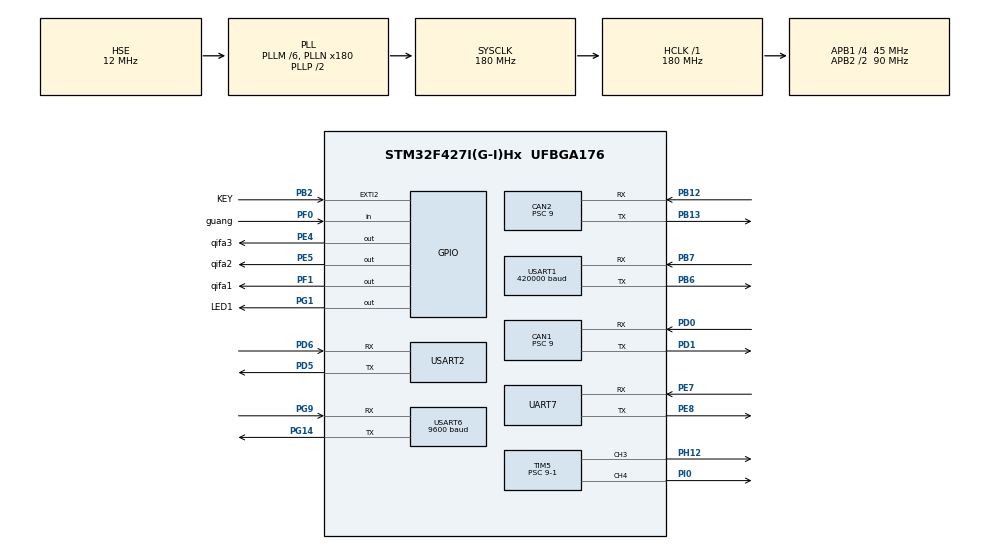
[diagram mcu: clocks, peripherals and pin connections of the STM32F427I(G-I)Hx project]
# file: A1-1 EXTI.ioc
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CAN1.ABOM=ENABLE
CAN1.BS1=CAN_BS1_2TQ
CAN1.BS2=CAN_BS2_2TQ
CAN1.CalculateBaudRate=1000000
CAN1.CalculateTimeBit=1000
CAN1.CalculateTimeQuantum=200.0
CAN1.Prescaler=9
CAN2.ABOM=ENABLE
CAN2.BS1=CAN_BS1_2TQ
CAN2.BS2=CAN_BS2_2TQ
CAN2.CalculateBaudRate=1000000
CAN2.CalculateTimeBit=1000
CAN2.CalculateTimeQuantum=200.0
CAN2.Prescaler=9
Dma.Request0=USART1_RX
Dma.USART1_RX.0.Direction=DMA_PERIPH_TO_MEMORY
Dma.USART1_RX.0.FIFOMode=DMA_FIFOMODE_DISABLE
Dma.USART1_RX.0.Instance=DMA2_Stream2
Dma.USART1_RX.0.MemDataAlignment=DMA_MDATAALIGN_BYTE
Dma.USART1_RX.0.MemInc=DMA_MINC_ENABLE
Dma.USART1_RX.0.Mode=DMA_NORMAL
Dma.USART1_RX.0.PeriphDataAlignment=DMA_PDATAALIGN_BYTE
Dma.USART1_RX.0.PeriphInc=DMA_PINC_DISABLE
Dma.USART1_RX.0.Priority=DMA_PRIORITY_LOW
FREERTOS.Tasks01=PID_Task,0,256,PID_Function,Default,NULL,Dynamic,NULL,NULL;Cloud_Task,-1,256,Cloud_Function,Default,NULL,Dynamic,NULL,NULL;LvBoQi_Task,0,128,LvBoQi_Function,Default,NULL,Dynamic,NULL,NULL
Mcu.Family=STM32F4
Mcu.Name=STM32F427I(G-I)Hx
Mcu.Package=UFBGA176
NVIC.CAN1_RX0_IRQn=true\:5\:0\:false\:false\:true\:true\:true\:true\:true
NVIC.DMA2_Stream2_IRQn=true\:5\:0\:false\:false\:true\:true\:false\:true\:true
NVIC.EXTI2_IRQn=true\:15\:0\:true\:false\:true\:true\:true\:true\:true
NVIC.PriorityGroup=NVIC_PRIORITYGROUP_4
NVIC.TIM1_UP_TIM10_IRQn=true\:15\:0\:false\:false\:true\:false\:false\:true\:true
NVIC.TIM6_DAC_IRQn=true\:5\:0\:false\:false\:true\:true\:true\:true\:true
NVIC.TIM8_BRK_TIM12_IRQn=true\:5\:0\:false\:false\:true\:true\:true\:true\:true
NVIC.TIM8_TRG_COM_TIM14_IRQn=true\:5\:0\:false\:false\:true\:true\:true\:true\:true
NVIC.TIM8_UP_TIM13_IRQn=true\:5\:0\:false\:false\:true\:true\:true\:true\:true
NVIC.TimeBase=TIM1_UP_TIM10_IRQn
NVIC.TimeBaseIP=TIM10
NVIC.UART7_IRQn=true\:5\:0\:false\:false\:true\:true\:true\:true\:true
NVIC.USART1_IRQn=true\:5\:0\:false\:false\:true\:true\:true\:true\:true
NVIC.USART2_IRQn=true\:5\:0\:false\:false\:true\:true\:true\:true\:true
NVIC.USART6_IRQn=true\:5\:0\:false\:false\:true\:true\:true\:true\:true
PA13.Mode=Serial_Wire
PA13.Signal=SYS_JTMS-SWDIO
PA14.Mode=Serial_Wire
PA14.Signal=SYS_JTCK-SWCLK
PB12.Mode=CAN_Activate
PB12.Signal=CAN2_RX
PB13.Mode=CAN_Activate
PB13.Signal=CAN2_TX
PB2/BOOT1.GPIO_Label=KEY
PB2/BOOT1.GPIO_ModeDefaultEXTI=GPIO_MODE_IT_RISING
PB2/BOOT1.GPIO_PuPd=GPIO_PULLDOWN
PB2/BOOT1.Signal=GPXTI2
PB6.Mode=Asynchronous
PB6.Signal=USART1_TX
PB7.Mode=Asynchronous
PB7.Signal=USART1_RX
PD0.Mode=CAN_Activate
PD0.Signal=CAN1_RX
PD1.Mode=CAN_Activate
PD1.Signal=CAN1_TX
PD5.Mode=Asynchronous
PD5.Signal=USART2_TX
PD6.Mode=Asynchronous
PD6.Signal=USART2_RX
PE4.GPIO_Label=qifa3
PE4.GPIO_PuPd=GPIO_PULLDOWN
PE4.Signal=GPIO_Output
PE5.GPIO_Label=qifa2
PE5.GPIO_PuPd=GPIO_PULLDOWN
PE5.Signal=GPIO_Output
PE7.Mode=Asynchronous
PE7.Signal=UART7_RX
PE8.Mode=Asynchronous
PE8.Signal=UART7_TX
PF0.GPIO_Label=guang
PF0.GPIO_PuPd=GPIO_PULLUP
PF0.Signal=GPIO_Input
PF1.GPIO_Label=qifa1
PF1.GPIO_PuPd=GPIO_PULLDOWN
PF1.Signal=GPIO_Output
PG1.GPIO_Label=LED1
PG1.GPIO_Speed=GPIO_SPEED_FREQ_LOW
PG1.PinState=GPIO_PIN_RESET
PG1.Signal=GPIO_Output
PG14.Mode=Asynchronous
PG14.Signal=USART6_TX
PG9.Mode=Asynchronous
PG9.Signal=USART6_RX
PH0/OSC_IN.Mode=HSE-External-Oscillator
PH0/OSC_IN.Signal=RCC_OSC_IN
PH1/OSC_OUT.Mode=HSE-External-Oscillator
PH1/OSC_OUT.Signal=RCC_OSC_OUT
PH12.Signal=S_TIM5_CH3
PI0.Signal=S_TIM5_CH4
ProjectManager.HeapSize=0x200
ProjectManager.StackSize=0x400
ProjectManager.TargetToolchain=MDK-ARM V5.32
RCC.48MHZClocksFreq_Value=90000000
RCC.AHBFreq_Value=180000000
RCC.APB1CLKDivider=RCC_HCLK_DIV4
RCC.APB1Freq_Value=45000000
RCC.APB1TimFreq_Value=90000000
RCC.APB2CLKDivider=RCC_HCLK_DIV2
RCC.APB2Freq_Value=90000000
RCC.APB2TimFreq_Value=180000000
RCC.CortexFreq_Value=180000000
RCC.HCLKFreq_Value=180000000
RCC.HSE_VALUE=12000000
RCC.HSI_VALUE=16000000
RCC.LSE_VALUE=32768
RCC.PLLM=6
RCC.PLLN=180
RCC.PLLSourceVirtual=RCC_PLLSOURCE_HSE
RCC.SYSCLKFreq_VALUE=180000000
RCC.SYSCLKSource=RCC_SYSCLKSOURCE_PLLCLK
RCC.VCOOutputFreq_Value=360000000
SH.S_TIM5_CH3.0=TIM5_CH3,PWM Generation3 CH3
SH.S_TIM5_CH4.0=TIM5_CH4,PWM Generation4 CH4
TIM12.Period=20000-1
TIM12.Prescaler=90-1
TIM13.Period=1000-1
TIM13.Prescaler=9000-1
TIM14.Period=10000-1
TIM14.Prescaler=90-1
TIM5.Channel-PWM\ Generation3\ CH3=TIM_CHANNEL_3
TIM5.Channel-PWM\ Generation4\ CH4=TIM_CHANNEL_4
TIM5.Period=200000-1
TIM5.Prescaler=9-1
TIM6.Period=1000-1
TIM6.Prescaler=80-1
UART7.VirtualMode=Asynchronous
USART1.BaudRate=420000
USART1.VirtualMode=VM_ASYNC
USART2.VirtualMode=VM_ASYNC
USART6.BaudRate=9600
USART6.VirtualMode=VM_ASYNC
VP_FREERTOS_VS_CMSIS_V1.Mode=CMSIS_V1
VP_SYS_VS_tim10.Mode=TIM10
VP_TIM12_VS_ClockSourceINT.Mode=Internal
VP_TIM13_VS_ClockSourceINT.Mode=Enable_Timer
VP_TIM14_VS_ClockSourceINT.Mode=Enable_Timer
VP_TIM5_VS_ClockSourceINT.Mode=Internal
VP_TIM6_VS_ClockSourceINT.Mode=Enable_Timer
board=custom

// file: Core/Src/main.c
/* USER CODE BEGIN Header */
/**
 ******************************************************************************
 * @file           : main.c
 * @brief          : Main program body
 ******************************************************************************
 * @attention
 *
 * Copyright (c) 2024 STMicroelectronics.
 * All rights reserved.
 *
 * This software is licensed under terms that can be found in the LICENSE file
 * in the root directory of this software component.
 * If no LICENSE file comes with this software, it is provided AS-IS.
 *
 ******************************************************************************
 */
/* USER CODE END Header */
#include "main.h"
#include "cmsis_os.h"
#include "can.h"
#include "dma.h"
#include "tim.h"
#include "usart.h"
#include "gpio.h"

/* USER CODE BEGIN PTD */
int16_t oput1;
uint8_t debug_data[2]; // 蓝牙调试数据
uint8_t disc_rx[28];   // 马盘数据

PID_ Vc1_1;
PID_ Vc1_2;
PID_ Vc1_3;
PID_ Vc1_4;
PID_ Vc1_5;
PID_ Vc1_6;
PID_ Vc1_7;
PID_ Vc1_8;

PID_ Pc1_5;
PID_ Pc1_6;
PID_ Pc1_7;

PID_ vision_Pitch_pid;
vision_para vision;
/* USER CODE END PTD */

void SystemClock_Config(void);
void MX_FREERTOS_Init(void);

int main(void)
{

  /* USER CODE BEGIN 1 */
  PID_Init(&Vc1_5, 150, 0, 50, 8000, 0, 0);
  PID_Init(&Pc1_5, 60, 0, 11, 300, 0, 0);
  PID_Init(&Vc1_6, 100, 0, 10, 10000, 0, 0);
  PID_Init(&Pc1_6, 60, 0, 50, 300, 0, 0);
  PID_Init(&Vc1_7, 100, 0, 10, 5000, 0, 0);
  PID_Init(&Pc1_7, 10, 0, 1, 30, 0, 0);

  PID_Init(&Vc1_1, 100, 0, 10, 12000, 0, 0);
  PID_Init(&Vc1_2, 100, 0, 10, 12000, 0, 0);
  PID_Init(&Vc1_3, 100, 0, 10, 12000, 0, 0);
  PID_Init(&Vc1_4, 100, 0, 10, 12000, 0, 0);

  PID_Init(&vision_Pitch_pid, 0.27f, 0, 0.027f, 40, 0, 0);
  /* USER CODE END 1 */

  /* MCU Configuration--------------------------------------------------------*/

  /* Reset of all peripherals, Initializes the Flash interface and the Systick. */
  HAL_Init();

  /* Configure the system clock */
  SystemClock_Config();

  /* Initialize all configured peripherals */
  MX_GPIO_Init();
  MX_DMA_Init();
  MX_CAN1_Init();
  MX_CAN2_Init();
  MX_USART1_UART_Init();
  MX_USART2_UART_Init();
  MX_USART6_UART_Init();
  MX_UART7_Init();
  MX_TIM6_Init();
  MX_TIM14_Init();
  MX_TIM13_Init();
  MX_TIM5_Init();
  MX_TIM12_Init();
  /* USER CODE BEGIN 2 */
  HAL_UART_Receive_IT(&huart7, disc_rx, 28);
  HAL_UARTEx_ReceiveToIdle_IT(&huart6, vision.data, 5);
  HAL_Delay(100);
  CAN_Filter_Init();              // can初始化
  HAL_TIM_Base_Start_IT(&htim6);  // 1ms角度计算
  HAL_TIM_Base_Start_IT(&htim14); // 10ms控制发送
  HAL_TIM_Base_Start_IT(&htim13); // 视觉中断数据接收判断
//  HAL_TIM_Base_Start_IT(&htim12);   //5065专属中断
  HAL_TIM_PWM_Start(&htim5, TIM_CHANNEL_4);
  HAL_TIM_PWM_Start(&htim5, TIM_CHANNEL_3);

  TIM5->CCR4 = 13000;
  HAL_Delay(100);
  C1Motor_5.cumulative_angle = 0;
  C1Motor_6.cumulative_angle = 0;
  C1Motor_7.cumulative_angle = 0;

  HAL_UART_Receive_IT(&huart2, debug_data, 2);           // 蓝牙调试接口
  HAL_UARTEx_ReceiveToIdle_DMA(&huart1, Elrs.rdata, 27); // 遥控数据

  /* USER CODE END 2 */

  /* Call init function for freertos objects (in cmsis_os2.c) */
  MX_FREERTOS_Init();

  /* Start scheduler */
  osKernelStart();

  /* We should never get here as control is now taken by the scheduler */

  /* Infinite loop */
  while (1)
  {

  }
}

void SystemClock_Config(void)
{
  RCC_OscInitTypeDef RCC_OscInitStruct = {0};
  RCC_ClkInitTypeDef RCC_ClkInitStruct = {0};

  /** Configure the main internal regulator output voltage
  */
  __HAL_RCC_PWR_CLK_ENABLE();
  __HAL_PWR_VOLTAGESCALING_CONFIG(PWR_REGULATOR_VOLTAGE_SCALE1);

  /** Initializes the RCC Oscillators according to the specified parameters
  * in the RCC_OscInitTypeDef structure.
  */
  RCC_OscInitStruct.OscillatorType = RCC_OSCILLATORTYPE_HSE;
  RCC_OscInitStruct.HSEState = RCC_HSE_ON;
  RCC_OscInitStruct.PLL.PLLState = RCC_PLL_ON;
  RCC_OscInitStruct.PLL.PLLSource = RCC_PLLSOURCE_HSE;
  RCC_OscInitStruct.PLL.PLLM = 6;
  RCC_OscInitStruct.PLL.PLLN = 180;
  RCC_OscInitStruct.PLL.PLLP = RCC_PLLP_DIV2;
  RCC_OscInitStruct.PLL.PLLQ = 4;
  if (HAL_RCC_OscConfig(&RCC_OscInitStruct) != HAL_OK)
  {
    Error_Handler();
  }

  /** Activate the Over-Drive mode
  */
  if (HAL_PWREx_EnableOverDrive() != HAL_OK)
  {
    Error_Handler();
  }

  /** Initializes the CPU, AHB and APB buses clocks
  */
  RCC_ClkInitStruct.ClockType = RCC_CLOCKTYPE_HCLK|RCC_CLOCKTYPE_SYSCLK
                              |RCC_CLOCKTYPE_PCLK1|RCC_CLOCKTYPE_PCLK2;
  RCC_ClkInitStruct.SYSCLKSource = RCC_SYSCLKSOURCE_PLLCLK;
  RCC_ClkInitStruct.AHBCLKDivider = RCC_SYSCLK_DIV1;
  RCC_ClkInitStruct.APB1CLKDivider = RCC_HCLK_DIV4;
  RCC_ClkInitStruct.APB2CLKDivider = RCC_HCLK_DIV2;

  if (HAL_RCC_ClockConfig(&RCC_ClkInitStruct, FLASH_LATENCY_5) != HAL_OK)
  {
    Error_Handler();
  }
}

void HAL_TIM_PeriodElapsedCallback(TIM_HandleTypeDef *htim)
{
  if (htim->Instance == TIM10)
  {
    HAL_IncTick();
  }
  /* USER CODE BEGIN Callback 1 */
  if (htim->Instance == TIM6) // 1ms 一次
  {
    get_absolute_angle(&C1Motor_5);
    get_absolute_angle(&C1Motor_6);
    get_absolute_angle(&C1Motor_7);
  }
  if (htim->Instance == TIM14) // 10ms一次
  {
    motor_can2(out1, out2, out3, out4);
    up_can1(out5, 0, 0, 0);
//	  motor5065(0x3FF, 3000);
  }
  if (htim->Instance == TIM13)
  {
    vision.flag = 0;
  }
//  if (htim->Instance == TIM12)
//  {
////    motor5065(0x3FF, 3000);
//  }
  /* USER CODE END Callback 1 */
}

void Error_Handler(void)
{
  __disable_irq();
  while (1)
  {
  }
}

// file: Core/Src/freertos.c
/* USER CODE BEGIN Header */
/**
 ******************************************************************************
 * File Name          : freertos.c
 * Description        : Code for freertos applications
 ******************************************************************************
 * @attention
 *
 * Copyright (c) 2025 STMicroelectronics.
 * All rights reserved.
 *
 * This software is licensed under terms that can be found in the LICENSE file
 * in the root directory of this software component.
 * If no LICENSE file comes with this software, it is provided AS-IS.
 *
 ******************************************************************************
 */
/* USER CODE END Header */

#include "FreeRTOS.h"
#include "task.h"
#include "main.h"
#include "cmsis_os.h"

/* USER CODE BEGIN PTD */
#define Kuang_x 4.0f - 0.35f
#define Kuang_y 14.025f - 0.23f
float BuCang_x = 0, BuCang_y = 0, BuCang_z = 0;

float shot_angle, shot_speed;                                           // 发球的角度和速度
uint16_t para_speed = 2000;                                             // 速度，角度矫正常量
float shot_Pitch;                                                       // 发射机构俯仰，偏航实际PID控制入参
float distance_x, distance_y, distance_Gou, distance_Gu, distance_Xuan; // 单位m

uint8_t shot_flag = 0; // 投球时段标志位
float result7_stop;
int8_t up_down;          // 抬升机构
uint8_t guang_flag = 10; //  光电门标志位

extern PID_ Vc1_1;
extern PID_ Vc1_2;
extern PID_ Vc1_3;
extern PID_ Vc1_4;
extern PID_ Vc1_5;
extern PID_ Vc1_6;
extern PID_ Vc1_7;
extern PID_ Vc1_8;

extern PID_ Pc1_5;
extern PID_ Pc1_6;
extern PID_ Pc1_7;

extern PID_ vision_Pitch_pid;
/* USER CODE END PTD */

osThreadId PID_TaskHandle;
osThreadId Cloud_TaskHandle;
osThreadId LvBoQi_TaskHandle;

void PID_Function(void const * argument);
void Cloud_Function(void const * argument);
void LvBoQi_Function(void const * argument);

void MX_FREERTOS_Init(void); /* (MISRA C 2004 rule 8.1) */

/* GetIdleTaskMemory prototype (linked to static allocation support) */
void vApplicationGetIdleTaskMemory( StaticTask_t **ppxIdleTaskTCBBuffer, StackType_t **ppxIdleTaskStackBuffer, uint32_t *pulIdleTaskStackSize );

/* USER CODE BEGIN GET_IDLE_TASK_MEMORY */
static StaticTask_t xIdleTaskTCBBuffer;
static StackType_t xIdleStack[configMINIMAL_STACK_SIZE];

void vApplicationGetIdleTaskMemory(StaticTask_t **ppxIdleTaskTCBBuffer, StackType_t **ppxIdleTaskStackBuffer, uint32_t *pulIdleTaskStackSize)
{
    *ppxIdleTaskTCBBuffer = &xIdleTaskTCBBuffer;
    *ppxIdleTaskStackBuffer = &xIdleStack[0];
    *pulIdleTaskStackSize = configMINIMAL_STACK_SIZE;
    /* place for user code */
}
/* USER CODE END GET_IDLE_TASK_MEMORY */

void MX_FREERTOS_Init(void) {

  /* Create the thread(s) */
  /* definition and creation of PID_Task */
  osThreadDef(PID_Task, PID_Function, osPriorityNormal, 0, 256);
  PID_TaskHandle = osThreadCreate(osThread(PID_Task), NULL);

  /* definition and creation of Cloud_Task */
  osThreadDef(Cloud_Task, Cloud_Function, osPriorityBelowNormal, 0, 256);
  Cloud_TaskHandle = osThreadCreate(osThread(Cloud_Task), NULL);

  /* definition and creation of LvBoQi_Task */
  osThreadDef(LvBoQi_Task, LvBoQi_Function, osPriorityNormal, 0, 128);
  LvBoQi_TaskHandle = osThreadCreate(osThread(LvBoQi_Task), NULL);

}

void PID_Function(void const * argument)
{
  /* USER CODE BEGIN PID_Function */
    /* Infinite loop */
    for (;;)
    {
        float result5, result6, result7;
        float speed[4];
        driver_ddd(-Elrs.ch[4], Elrs.ch[3], Elrs.ch[1] / 1.6f, speed);

        out1 = PID_Calc(&Vc1_1, 500, C1Motor_1.speed );
        out2 = PID_Calc(&Vc1_2, 500, C1Motor_2.speed );
        out3 = PID_Calc(&Vc1_3, 500, C1Motor_3.speed );
        out4 = PID_Calc(&Vc1_4, 500, C1Motor_4.speed );

        result5 = PID_Calc(&Pc1_5, 0, C1Motor_5.cumulative_angle / 8192.f);
        out5 = PID_Calc(&Vc1_5, result5, C1Motor_5.speed / 19.0f);

        result6 = PID_Calc(&Pc1_6, 8192, C1Motor_6.cumulative_angle / 8192.0f);
        out6 = PID_Calc(&Vc1_6, result6, C1Motor_6.speed / 32.0f);

        if (distance_y < 6)
        {
            TIM5->CCR4 = 13000;
            result7 = PID_Calc(&Pc1_7, 0, C1Motor_7.cumulative_angle / 8192.0f);
        }
        else if (vision.flag == 0)
        {
            vision.xy[0] = 0;
            vision.xy[1] = 0;
            result7 = 0;
            TIM5->CCR4 = 13000;
        }
        else if (C1Motor_7.cumulative_angle / 8192.0f > 39 && vision.xy[0] > 0)
            result7 = PID_Calc(&Pc1_7, 40, C1Motor_7.cumulative_angle / 8192.0f);
        else if (C1Motor_7.cumulative_angle / 8192.0f < -60 && vision.xy[0] < 0)
            result7 = PID_Calc(&Pc1_7, -61, C1Motor_7.cumulative_angle / 8192.0f);
        else
            result7 = vision.xy[0] > 100 ? 100 : vision.xy[0] < -100 ? -100
                                                                     : vision.xy[0];
        if (shot_flag == 0)
            out7 = PID_Calc(&Vc1_7, result7, C1Motor_7.speed / 32.0f);
        else
        {
            result7 = PID_Calc(&Pc1_7, result7_stop, C1Motor_7.cumulative_angle / 8192.0f);
            out7 = PID_Calc(&Vc1_1, result7, C1Motor_7.speed / 32.0f);
        }
        TIM5->CCR4 += PID_Calc(&vision_Pitch_pid, 0, vision.xy[1]);
        TIM5->CCR4 = TIM5->CCR4 < 12000 ? 12000 : TIM5->CCR4 > 20000 ? 20000
                                                                     : TIM5->CCR4;
        osDelay(9);
    }
  /* USER CODE END PID_Function */
}

void Cloud_Function(void const * argument)
{
  /* USER CODE BEGIN Cloud_Function */
    uint8_t bug_cao = 0, cnt = 0;
    /* Infinite loop */
    for (;;)
    {
        float x, y, angle_f;
        x = (pos_x - BuCang_x) / 1000.0f;
        y = (pos_y - BuCang_y) / 1000.0f;
        angle_f = deg2rad(BuCang_z);
        distance_x = x * cosf(angle_f) - y * sinf(angle_f);
        distance_y = x * sinf(angle_f) + y * cosf(angle_f);
        distance_Gu = sqrtf((distance_x - Kuang_x) * (distance_x - Kuang_x) + (distance_y - Kuang_y) * (distance_y - Kuang_y));

        if ((Elrs.ch_flag[8] == 3 || Elrs.ch_flag[8] == 1) && bug_cao == 0) // 修bug用的
        {
            for (uint8_t i = 5; i < 10; i++)
                Elrs.ch_flag[i] = 0;
            bug_cao = 1;
        }

        if (Elrs.ch_flag[6] == 3)
        {
            BuCang_x = pos_x;
            BuCang_y = pos_y;
            BuCang_z = zangle;
            Elrs.ch_flag[5] = 0;
        }

        if(distance_y > 6) // 进入6m开始预加速
        {
            if(distance_Gu < 7)
            {
                HAL_TIM_Base_Start_IT(&htim12);
                solve_angle_speed(distance_Gu, &shot_angle, &shot_speed);
                shot_Pitch = ((75 - shot_angle) / 27.0f * 40.32f);
                oput1 = shot_speed * Forced_fitting(distance_Gu) * (Elrs.ch[10] / 10000.0f + 1.0f);
            }
            else
            {
                HAL_TIM_Base_Start_IT(&htim12);
                oput1 = 25000;
                shot_Pitch = 0;
            }
        }
        else
        {
            HAL_TIM_Base_Stop_IT(&htim12);
            shot_Pitch = 0;
        }

        if (Elrs.ch_flag[9] == 3) // 送球发射
        {
            shot_flag = 1;
            result7_stop = C1Motor_7.cumulative_angle / 8192.0f;
            up_down = 44;
            osDelay(600);
            shot_flag = 0;
            up_down = 0;
        }

        if (Elrs.ch[7] == 1 && (Elrs.ch_flag[8] == 3 || Elrs.ch_flag[8] == 1)) // 运球，两颗
        {
            HAL_GPIO_WritePin(qifa3_GPIO_Port, qifa3_Pin, GPIO_PIN_SET);
            osDelay(1000); // 推送

            HAL_GPIO_WritePin(qifa2_GPIO_Port, qifa2_Pin, GPIO_PIN_SET);
            HAL_GPIO_WritePin(qifa1_GPIO_Port, qifa1_Pin, GPIO_PIN_SET);
            osDelay(200);
            HAL_GPIO_WritePin(qifa1_GPIO_Port, qifa1_Pin, GPIO_PIN_RESET);
            osDelay(700);
            HAL_GPIO_WritePin(qifa2_GPIO_Port, qifa2_Pin, GPIO_PIN_SET);
            HAL_GPIO_WritePin(qifa1_GPIO_Port, qifa1_Pin, GPIO_PIN_SET);
            osDelay(200);
            HAL_GPIO_WritePin(qifa1_GPIO_Port, qifa1_Pin, GPIO_PIN_RESET);
            osDelay(700);

            HAL_GPIO_WritePin(qifa3_GPIO_Port, qifa3_Pin, GPIO_PIN_RESET);
            osDelay(1000); // 推送(回)

            HAL_GPIO_WritePin(qifa2_GPIO_Port, qifa2_Pin, GPIO_PIN_SET);
            Elrs.ch_flag[8] = 0;
        }

        // 夹爪
        if (Elrs.ch[7] == 2 && (Elrs.ch_flag[8] == 3 || Elrs.ch_flag[8] == 1))
        {
            if (HAL_GPIO_ReadPin(qifa2_GPIO_Port, qifa2_Pin) == GPIO_PIN_SET)
                HAL_GPIO_WritePin(qifa2_GPIO_Port, qifa2_Pin, GPIO_PIN_RESET);
            else
                HAL_GPIO_WritePin(qifa2_GPIO_Port, qifa2_Pin, GPIO_PIN_SET);
            Elrs.ch_flag[8] = 0;
        }

        cnt++;
        if (cnt > 100)
        {
            cnt = 0;
            char lin[40];
            sprintf(lin, "x:%.2f,y:%.2f\ndis:%.2f", distance_x, distance_y, distance_Gu);
            HAL_UART_Transmit_IT(&huart2, (uint8_t *)lin, sizeof(lin));
        }
        osDelay(20);
    }
  /* USER CODE END Cloud_Function */
}

void LvBoQi_Function(void const * argument)
{
  /* USER CODE BEGIN LvBoQi_Function */
    uint8_t guang_last = 0, guang_now = 0, guang_count = 0;
    /* Infinite loop */
    for (;;)
    {
        guang_now = HAL_GPIO_ReadPin(guang_GPIO_Port, guang_Pin);
        if (guang_now != guang_last)
        {
            guang_count++;
        }
        if (guang_count > 10)
        {
            guang_count = 0;
            guang_flag = guang_now;
            guang_last = guang_now;
        }

        if (guang_flag == 0)
        {
            HAL_GPIO_WritePin(qifa2_GPIO_Port, qifa2_Pin, GPIO_PIN_RESET);
            guang_flag = 10;
        }
        osDelay(1);
    }
  /* USER CODE END LvBoQi_Function */
}
